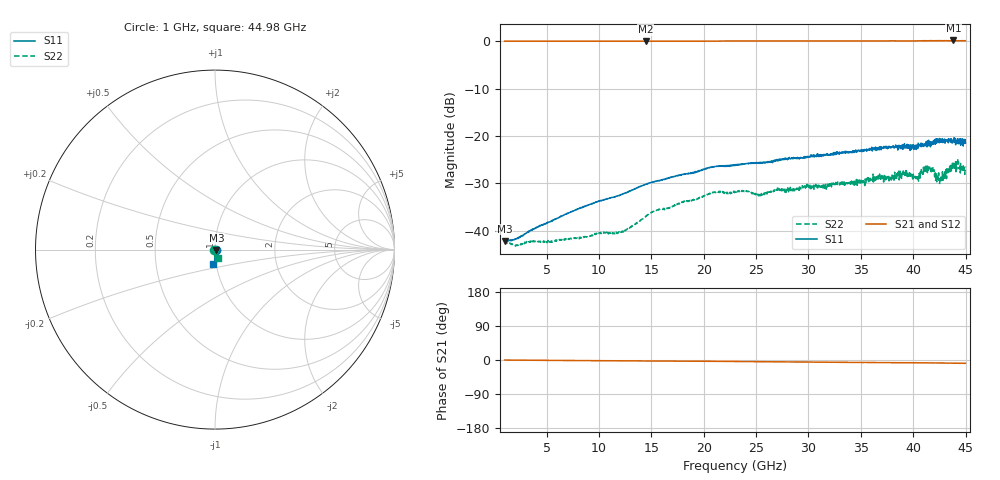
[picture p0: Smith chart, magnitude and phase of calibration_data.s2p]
!Keysight Technologies,N5247B,MY61255062,A.19.80.06
!Date: Friday, March 13, 2026 16:38:22
!Correction: S11(C  2-Port  )
!S21(C  2-Port  )
!S12(C  2-Port  )
!S22(C  2-Port  )
!S2P File: Measurements: S11, S21, S12, S22:
# Hz S  dB  R 50
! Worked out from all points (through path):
!   1467 points, 1 GHz to 44.98 GHz, reference 50 ohm
!   highest |S21| = 0.15 dB at 43.84 GHz (marker M1); lowest = 0.0 dB at 14.47 GHz (marker M2)
!   group delay of S21, straight-line fit = 518 fs
!   lowest |S11| = -42.2 dB at 1.03 GHz (marker M3), VSWR 1.02, Z = 50.8 - j0.145 ohm
!   |S11| at or under -10 dB: start of sweep to end of sweep
!   |S22| runs from -43.3 to -24.9 dB; largest |S21 - S12| = 0.01
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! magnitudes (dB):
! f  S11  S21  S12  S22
! 1 GHz  -42.2  0.0  0.0  -42.3
! 1.03 GHz  -42.2  0.0  0.0  -42.2
! 2.14 GHz  -41.7  0.0  0.0  -43.2
! 3.64 GHz  -39.7  0.0  0.0  -42.2
! 8.35 GHz  -35.1  0.0  0.0  -41.5
! 12.31 GHz  -32.3  0.0  0.0  -40.3
! 14.47 GHz  -30.2  0.0  0.0  -37.0
! 15.67 GHz  -29.5  0.0  0.0  -35.5
! 20.86 GHz  -26.6  0.0  0.0  -32.0
! 22.99 GHz  -26.1  0.0  0.0  -31.7
! 25.27 GHz  -25.7  0.1  0.1  -32.4
! 27.16 GHz  -25.2  0.0  0.0  -31.4
! 30.34 GHz  -24.2  0.1  0.1  -30.5
! 37.66 GHz  -22.5  0.1  0.1  -28.2
! 39.22 GHz  -22.5  0.1  0.1  -28.6
! 40.45 GHz  -22.6  0.1  0.1  -28.8
! 41.41 GHz  -21.6  0.1  0.1  -26.9
! 41.8 GHz  -21.5  0.1  0.1  -27.3
! 42.34 GHz  -21.2  0.1  0.1  -28.2
! 42.67 GHz  -20.7  0.1  0.1  -28.3
! 43.84 GHz  -21.2  0.2  0.1  -25.8
! 44.98 GHz  -21.6  0.1  0.1  -26.5
